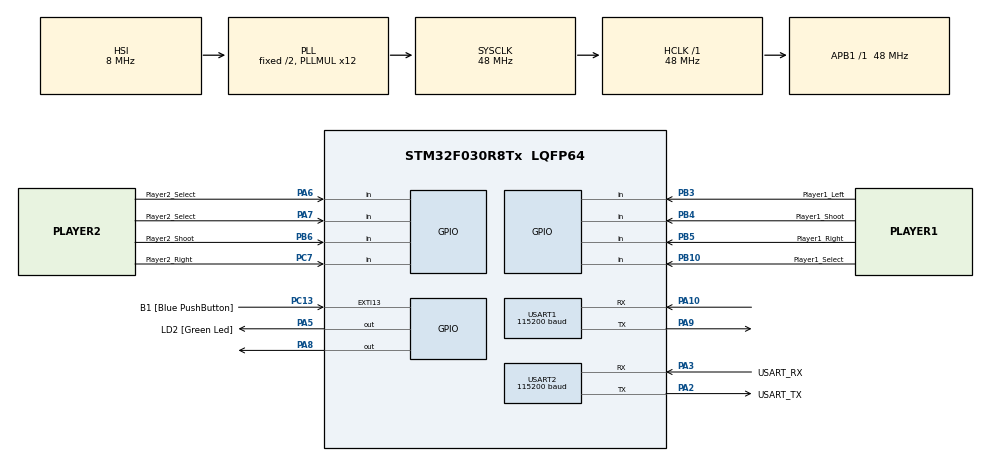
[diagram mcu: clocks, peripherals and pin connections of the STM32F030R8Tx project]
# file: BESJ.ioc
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Mcu.Family=STM32F0
Mcu.Name=STM32F030R8Tx
Mcu.Package=LQFP64
PA10.Mode=Asynchronous
PA10.Signal=USART1_RX
PA13.GPIO_Label=TMS
PA13.Mode=Serial_Wire
PA13.Signal=SYS_SWDIO
PA14.GPIO_Label=TCK
PA14.Mode=Serial_Wire
PA14.Signal=SYS_SWCLK
PA2.GPIO_Label=USART_TX
PA2.GPIO_Mode=GPIO_MODE_AF_PP
PA2.GPIO_PuPd=GPIO_NOPULL
PA2.GPIO_Speed=GPIO_SPEED_FREQ_LOW
PA2.Mode=Asynchronous
PA2.Signal=USART2_TX
PA3.GPIO_Label=USART_RX
PA3.GPIO_Mode=GPIO_MODE_AF_PP
PA3.GPIO_PuPd=GPIO_NOPULL
PA3.GPIO_Speed=GPIO_SPEED_FREQ_LOW
PA3.Mode=Asynchronous
PA3.Signal=USART2_RX
PA5.GPIO_Label=LD2 [Green Led]
PA5.GPIO_Mode=GPIO_MODE_OUTPUT_PP
PA5.GPIO_PuPd=GPIO_NOPULL
PA5.GPIO_Speed=GPIO_SPEED_FREQ_LOW
PA5.Signal=GPIO_Output
PA6.GPIO_Label=Player2_Select
PA6.GPIO_PuPd=GPIO_PULLDOWN
PA6.Signal=GPIO_Input
PA7.GPIO_Label=Player2_Select
PA7.GPIO_PuPd=GPIO_PULLDOWN
PA7.Signal=GPIO_Input
PA8.Signal=GPIO_Output
PA9.Mode=Asynchronous
PA9.Signal=USART1_TX
PB10.GPIO_Label=Player1_Select
PB10.GPIO_PuPd=GPIO_PULLDOWN
PB10.Signal=GPIO_Input
PB3.GPIO_Label=Player1_Left
PB3.GPIO_PuPd=GPIO_PULLDOWN
PB3.Signal=GPIO_Input
PB4.GPIO_Label=Player1_Shoot
PB4.GPIO_PuPd=GPIO_PULLDOWN
PB4.Signal=GPIO_Input
PB5.GPIO_Label=Player1_Right
PB5.GPIO_PuPd=GPIO_PULLDOWN
PB5.Signal=GPIO_Input
PB6.GPIO_Label=Player2_Shoot
PB6.GPIO_PuPd=GPIO_PULLDOWN
PB6.Signal=GPIO_Input
PC13.GPIO_Label=B1 [Blue PushButton]
PC13.GPIO_ModeDefaultEXTI=GPIO_MODE_IT_FALLING
PC13.Signal=GPXTI13
PC14-OSC32_IN.Mode=LSE-External-Oscillator
PC14-OSC32_IN.Signal=RCC_OSC32_IN
PC15-OSC32_OUT.Mode=LSE-External-Oscillator
PC15-OSC32_OUT.Signal=RCC_OSC32_OUT
PC7.GPIO_Label=Player2_Right
PC7.GPIO_PuPd=GPIO_PULLDOWN
PC7.Signal=GPIO_Input
PF0-OSC_IN.Mode=HSE-External-Clock-Source
PF0-OSC_IN.Signal=RCC_OSC_IN
PF1-OSC_OUT.Signal=RCC_OSC_OUT
ProjectManager.HeapSize=0x200
ProjectManager.StackSize=0x400
ProjectManager.TargetToolchain=STM32CubeIDE
RCC.AHBFreq_Value=48000000
RCC.APB1Freq_Value=48000000
RCC.APB1TimFreq_Value=48000000
RCC.HCLKFreq_Value=48000000
RCC.PLLMUL=RCC_PLL_MUL12
RCC.SYSCLKFreq_VALUE=48000000
RCC.SYSCLKSource=RCC_SYSCLKSOURCE_PLLCLK
TIM16.Prescaler=4799
USART1.BaudRate=115200
USART1.Mode=MODE_TX
USART1.OverrunDisableParam=ADVFEATURE_OVERRUN_DISABLE
USART1.VirtualMode-Asynchronous=VM_ASYNC
USART2.BaudRate=115200
USART2.VirtualMode-Asynchronous=VM_ASYNC
VP_TIM16_VS_ClockSourceINT.Mode=Enable_Timer
board=NUCLEO-F030R8

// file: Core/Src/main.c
/* USER CODE BEGIN Header */
/**
  ******************************************************************************
  * @file           : main.c
  * @brief          : Main program body
  ******************************************************************************
  * @attention
  *
  * Copyright (c) 2022 STMicroelectronics.
  * All rights reserved.
  *
  * This software is licensed under terms that can be found in the LICENSE file
  * in the root directory of this software component.
  * If no LICENSE file comes with this software, it is provided AS-IS.
  *
  ******************************************************************************
  */
/* USER CODE END Header */
#include "main.h"

/* USER CODE BEGIN Includes */
#include "stdio.h"
#include "string.h"
/* USER CODE END Includes */

/* USER CODE BEGIN PD */
#define MUSHROOM_X_MIN_BOUND 0
#define MUSHROOM_X_MAX_BOUND 32
#define MUSHROOM_Y_MIN_BOUND 2
#define MUSHROOM_Y_MAX_BOUND 20
#define MUSHROOM_MAX 20
#define BULLETS_MAX 100
#define PLAYER_X_MIN_BOUND 0
#define PLAYER_X_MAX_BOUND 32
#define CENTIPEDE_MAXLENGTH 6
//GROEN IS LINKS, GEEL IS RECHTS (MET STICKER)
//GROEN IS BOVEN, GEEL IS ONDER (ZONDER STICKER

/* USER CODE END PD */

 TIM_HandleTypeDef htim16;

UART_HandleTypeDef huart1;
UART_HandleTypeDef huart2;

/* USER CODE BEGIN PV */

//GRID
uint8_t GRID[32][20];

//PLAYERS
int player1_x_position,		//PLAYER 1
	player1_left_state, 	player1_left_state_prev,
	player1_right_state, 	player1_right_state_prev,
	player1_select_state,	player1_select_state_prev,
	player1_shoot_state, 	player1_shoot_state_prev;
int player2_x_position,		//PLAYER 2
	player2_left_state, 	player2_left_state_prev,
	player2_right_state, 	player2_right_state_prev,
	player2_select_state,	player2_select_state_prev,
	player2_shoot_state, 	player2_shoot_state_prev;

//BULLETS
int player1_bullet_positions[BULLETS_MAX][2];
int player1_bullets_active;
int player2_bullet_positions[BULLETS_MAX][2];
int player2_bullets_active;

//Centipedes
int centipede1_Position[CENTIPEDE_MAXLENGTH][2];
int centipede2_Position[CENTIPEDE_MAXLENGTH][2];

//MUSHROOMS
int mushroomFarm[MUSHROOM_MAX][2];
int mushroom_active;
int mushroomTimer;
//test
char uart_buf[50];
int uart_buf_len;
uint16_t timer_val;
/* USER CODE END PV */

void SystemClock_Config(void);
static void MX_GPIO_Init(void);
static void MX_USART2_UART_Init(void);
static void MX_TIM16_Init(void);
static void MX_USART1_UART_Init(void);
/* USER CODE BEGIN PFP */
//PLAYER1
int Player1_move(void);
int Player1_shoot(void);
int Player1_select(void);
void Player1_position(int);
//PLAYER2
int Player2_move(void);
int Player2_shoot(void);
int Player2_select(void);
void Player2_position(int);
//Centipede1
void Centipede1_INIT(void);
void Centipede1_move(void);
void Centipede1_position(void);
//Centipede2
void Centipede2_INIT(void);
void Centipede2_move(void);
void Centipede2_position(void);
//MUSHROOM
void mushroomFarm_INIT(void);
void mushroomSpawn(void);

/* USER CODE END PFP */

int main(void)
{

  /* MCU Configuration--------------------------------------------------------*/

  /* Reset of all peripherals, Initializes the Flash interface and the Systick. */
  HAL_Init();

  /* Configure the system clock */
  SystemClock_Config();

  /* Initialize all configured peripherals */
  MX_GPIO_Init();
  MX_USART2_UART_Init();
  MX_TIM16_Init();
  MX_USART1_UART_Init();
  /* USER CODE BEGIN 2 */
  //INIT VARIABLES
  player1_x_position = 9;
  player2_x_position = 17;
  mushroomTimer = 0;
  HAL_TIM_Base_Start(&htim16);
  //INIT FUCNTIONS
  //mushroomFarmInit(); <-- geeft errors
  /* USER CODE END 2 */

  /* Infinite loop */
  while (1)
  {

    /* USER CODE BEGIN 3 */
	  char audio[1] = {0x11};
	  char gridC[1] = {0x01};
	  char gridB[5] = {0x00, 0x00, 0x01, 0x00, 0x00};
	  char grid[768] = {0x01, 0x00, 0x00, 0x00, 0x00, 0x00, 0x00, 0x00, 0x00, 0x00, 0x00, 0x00, 0x00, 0x00, 0x00, 0x00, 0x00, 0x00, 0x00, 0x00, 0x00, 0x00, 0x00, 0x00,
			  0x00, 0x00, 0x00, 0x00, 0x00, 0x00, 0x00, 0x00, 0x00, 0x00, 0x00, 0x00, 0x00, 0x00, 0x00, 0x00, 0x00, 0x00, 0x00, 0x00, 0x00, 0x00, 0x00, 0x00,
			  0x00, 0x00, 0x00, 0x00, 0x00, 0x00, 0x00, 0x00, 0x00, 0x00, 0x00, 0x00, 0x00, 0x00, 0x00, 0x00, 0x00, 0x00, 0x00, 0x00, 0x00, 0x00, 0x00, 0x00,
			  0x00, 0x00, 0x00, 0x00, 0x00, 0x00, 0x00, 0x00, 0x00, 0x00, 0x00, 0x00, 0x00, 0x00, 0x00, 0x00, 0x00, 0x00, 0x00, 0x00, 0x00, 0x00, 0x00, 0x00,
			  0x00, 0x00, 0x00, 0x00, 0x00, 0x00, 0x00, 0x00, 0x00, 0x00, 0x00, 0x00, 0x00, 0x00, 0x00, 0x00, 0x00, 0x00, 0x00, 0x00, 0x00, 0x00, 0x00, 0x00,
			  0x00, 0x00, 0x00, 0x07, 0x00, 0x00, 0x00, 0x00, 0x00, 0x00, 0x00, 0x00, 0x00, 0x00, 0x00, 0x00, 0x00, 0x00, 0x00, 0x00, 0x00, 0x00, 0x00, 0x00,
			  0x00, 0x00, 0x00, 0x00, 0x00, 0x00, 0x00, 0x00, 0x00, 0x00, 0x00, 0x00, 0x00, 0x00, 0x00, 0x00, 0x00, 0x00, 0x00, 0x00, 0x00, 0x00, 0x00, 0x00,
			  0x00, 0x00, 0x00, 0x00, 0x00, 0x00, 0x00, 0x00, 0x00, 0x00, 0x00, 0x00, 0x00, 0x00, 0x00, 0x00, 0x00, 0x00, 0x00, 0x00, 0x00, 0x00, 0x00, 0x00,
			  0x00, 0x00, 0x00, 0x00, 0x00, 0x00, 0x00, 0x00, 0x00, 0x00, 0x00, 0x00, 0x00, 0x00, 0x00, 0x00, 0x00, 0x00, 0x00, 0x00, 0x00, 0x00, 0x00, 0x00,
			  0x00, 0x00, 0x00, 0x00, 0x00, 0x00, 0x00, 0x00, 0x00, 0x00, 0x00, 0x00, 0x00, 0x00, 0x00, 0x00, 0x00, 0x00, 0x00, 0x00, 0x00, 0x00, 0x00, 0x00,
			  0x00, 0x00, 0x00, 0x00, 0x00, 0x00, 0x00, 0x00, 0x00, 0x00, 0x00, 0x00, 0x00, 0x00, 0x00, 0x00, 0x00, 0x00, 0x00, 0x00, 0x00, 0x00, 0x00, 0x00,
			  0x00, 0x00, 0x00, 0x00, 0x00, 0x00, 0x00, 0x00, 0x00, 0x00, 0x00, 0x00, 0x00, 0x00, 0x00, 0x00, 0x00, 0x00, 0x00, 0x00, 0x00, 0x00, 0x00, 0x00,
			  0x00, 0x00, 0x00, 0x00, 0x00, 0x00, 0x00, 0x00, 0x00, 0x00, 0x00, 0x00, 0x00, 0x00, 0x00, 0x00, 0x00, 0x00, 0x00, 0x00, 0x00, 0x00, 0x00, 0x00,
			  0x00, 0x00, 0x00, 0x00, 0x00, 0x00, 0x00, 0x00, 0x00, 0x00, 0x00, 0x00, 0x00, 0x00, 0x00, 0x00, 0x00, 0x00, 0x00, 0x00, 0x00, 0x00, 0x00, 0x00,
			  0x00, 0x00, 0x00, 0x00, 0x00, 0x00, 0x00, 0x00, 0x00, 0x00, 0x00, 0x00, 0x00, 0x00, 0x00, 0x00, 0x00, 0x00, 0x00, 0x00, 0x00, 0x00, 0x00, 0x00,
			  0x00, 0x00, 0x00, 0x00, 0x00, 0x00, 0x00, 0x00, 0x00, 0x00, 0x00, 0x00, 0x00, 0x00, 0x00, 0x00, 0x00, 0x00, 0x00, 0x00, 0x00, 0x00, 0x00, 0x00,
			  0x00, 0x00, 0x00, 0x00, 0x00, 0x00, 0x00, 0x00, 0x00, 0x00, 0x00, 0x00, 0x00, 0x00, 0x00, 0x00, 0x00, 0x00, 0x00, 0x00, 0x00, 0x00, 0x00, 0x00,
			  0x00, 0x00, 0x00, 0x00, 0x00, 0x00, 0x00, 0x00, 0x00, 0x00, 0x00, 0x00, 0x00, 0x00, 0x00, 0x00, 0x00, 0x00, 0x00, 0x00, 0x00, 0x00, 0x00, 0x00,
			  0x00, 0x00, 0x00, 0x00, 0x00, 0x00, 0x00, 0x00, 0x00, 0x00, 0x00, 0x00, 0x00, 0x00, 0x00, 0x00, 0x00, 0x00, 0x00, 0x00, 0x00, 0x00, 0x00, 0x00,
			  0x00, 0x00, 0x00, 0x00, 0x00, 0x00, 0x00, 0x00, 0x00, 0x00, 0x00, 0x00, 0x00, 0x00, 0x00, 0x00, 0x00, 0x00, 0x00, 0x00, 0x00, 0x00, 0x00, 0x00,
			  0x00, 0x00, 0x00, 0x00, 0x00, 0x00, 0x00, 0x00, 0x00, 0x00, 0x00, 0x00, 0x00, 0x00, 0x00, 0x00, 0x00, 0x00, 0x00, 0x00, 0x00, 0x00, 0x00, 0x00,
			  0x00, 0x00, 0x00, 0x00, 0x00, 0x00, 0x00, 0x00, 0x00, 0x00, 0x00, 0x00, 0x00, 0x00, 0x00, 0x00, 0x00, 0x00, 0x00, 0x00, 0x00, 0x00, 0x00, 0x00,
			  0x00, 0x00, 0x00, 0x00, 0x00, 0x00, 0x00, 0x00, 0x00, 0x00, 0x00, 0x00, 0x00, 0x00, 0x00, 0x00, 0x03, 0x00, 0x00, 0x00, 0x00, 0x00, 0x00, 0x00,
			  0x00, 0x00, 0x00, 0x00, 0x00, 0x00, 0x00, 0x00, 0x00, 0x00, 0x00, 0x00, 0x00, 0x00, 0x00, 0x00, 0x00, 0x00, 0x00, 0x00, 0x00, 0x00, 0x00, 0x00,
			  0x00, 0x00, 0x00, 0x00, 0x00, 0x00, 0x00, 0x00, 0x00, 0x00, 0x00, 0x00, 0x00, 0x00, 0x00, 0x00, 0x00, 0x00, 0x00, 0x00, 0x00, 0x00, 0x00, 0x00,
			  0x00, 0x00, 0x00, 0x00, 0x00, 0x00, 0x00, 0x00, 0x00, 0x00, 0x00, 0x00, 0x00, 0x00, 0x00, 0x00, 0x00, 0x00, 0x00, 0x00, 0x00, 0x00, 0x00, 0x00,
			  0x00, 0x00, 0x00, 0x00, 0x00, 0x00, 0x00, 0x00, 0x00, 0x00, 0x00, 0x00, 0x00, 0x00, 0x00, 0x00, 0x00, 0x00, 0x00, 0x00, 0x00, 0x00, 0x00, 0x00,
			  0x00, 0x00, 0x00, 0x00, 0x00, 0x00, 0x00, 0x00, 0x00, 0x00, 0x00, 0x00, 0x00, 0x00, 0x00, 0x00, 0x00, 0x00, 0x00, 0x00, 0x00, 0x00, 0x00, 0x00,
			  0x00, 0x00, 0x00, 0x00, 0x00, 0x00, 0x00, 0x00, 0x00, 0x00, 0x00, 0x00, 0x00, 0x00, 0x00, 0x00, 0x00, 0x00, 0x00, 0x00, 0x00, 0x00, 0x00, 0x00,
			  0x00, 0x00, 0x00, 0x00, 0x00, 0x00, 0x00, 0x00, 0x00, 0x00, 0x00, 0x00, 0x00, 0x00, 0x00, 0x00, 0x00, 0x00, 0x00, 0x00, 0x00, 0x00, 0x00, 0x00,
			  0x00, 0x00, 0x00, 0x00, 0x00, 0x00, 0x00, 0x00, 0x00, 0x00, 0x00, 0x00, 0x00, 0x00, 0x00, 0x00, 0x00, 0x00, 0x00, 0x00, 0x00, 0x00, 0x00, 0x00,
			  0x00, 0x00, 0x00, 0x00, 0x00, 0x00, 0x00, 0x00, 0x00, 0x00, 0x00, 0x00, 0x00, 0x00, 0x00, 0x00, 0x00, 0x00, 0x00, 0x00, 0x00, 0x00, 0x00, 0x04};
	  fpgaTransmit(grid, 768); //768 //5 //1
	  HAL_Delay(500);
	  //fpgaTransmit(audio, 1);
	  //HAL_Delay(500);

	if (__HAL_TIM_GET_COUNTER(&htim16) - timer_val >= 1000) //runt elke 1khz
	{
		Player1_position(Player1_move());
		uart_buf_len = sprintf(uart_buf, "%d us\r\n", player1_x_position);
		//HAL_UART_Transmit(&huart2, (uint8_t *)uart_buf, uart_buf_len, 100);
		timer_val = __HAL_TIM_GET_COUNTER(&htim16);
		mushroomTimer++;
	}
	if(mushroomTimer == 10)
	{
		//mushroomSpawn(); <-- geeft errors
	}

  }
  /* USER CODE END 3 */
}

void SystemClock_Config(void)
{
  RCC_OscInitTypeDef RCC_OscInitStruct = {0};
  RCC_ClkInitTypeDef RCC_ClkInitStruct = {0};
  RCC_PeriphCLKInitTypeDef PeriphClkInit = {0};

  /** Initializes the RCC Oscillators according to the specified parameters
  * in the RCC_OscInitTypeDef structure.
  */
  RCC_OscInitStruct.OscillatorType = RCC_OSCILLATORTYPE_HSI;
  RCC_OscInitStruct.HSIState = RCC_HSI_ON;
  RCC_OscInitStruct.HSICalibrationValue = RCC_HSICALIBRATION_DEFAULT;
  RCC_OscInitStruct.PLL.PLLState = RCC_PLL_ON;
  RCC_OscInitStruct.PLL.PLLSource = RCC_PLLSOURCE_HSI;
  RCC_OscInitStruct.PLL.PLLMUL = RCC_PLL_MUL12;
  RCC_OscInitStruct.PLL.PREDIV = RCC_PREDIV_DIV1;
  if (HAL_RCC_OscConfig(&RCC_OscInitStruct) != HAL_OK)
  {
    Error_Handler();
  }

  /** Initializes the CPU, AHB and APB buses clocks
  */
  RCC_ClkInitStruct.ClockType = RCC_CLOCKTYPE_HCLK|RCC_CLOCKTYPE_SYSCLK
                              |RCC_CLOCKTYPE_PCLK1;
  RCC_ClkInitStruct.SYSCLKSource = RCC_SYSCLKSOURCE_PLLCLK;
  RCC_ClkInitStruct.AHBCLKDivider = RCC_SYSCLK_DIV1;
  RCC_ClkInitStruct.APB1CLKDivider = RCC_HCLK_DIV1;

  if (HAL_RCC_ClockConfig(&RCC_ClkInitStruct, FLASH_LATENCY_1) != HAL_OK)
  {
    Error_Handler();
  }
  PeriphClkInit.PeriphClockSelection = RCC_PERIPHCLK_USART1;
  PeriphClkInit.Usart1ClockSelection = RCC_USART1CLKSOURCE_PCLK1;
  if (HAL_RCCEx_PeriphCLKConfig(&PeriphClkInit) != HAL_OK)
  {
    Error_Handler();
  }
}

static void MX_TIM16_Init(void)
{

  htim16.Instance = TIM16;
  htim16.Init.Prescaler = 4799;
  htim16.Init.CounterMode = TIM_COUNTERMODE_UP;
  htim16.Init.Period = 65535;
  htim16.Init.ClockDivision = TIM_CLOCKDIVISION_DIV1;
  htim16.Init.RepetitionCounter = 0;
  htim16.Init.AutoReloadPreload = TIM_AUTORELOAD_PRELOAD_DISABLE;
  if (HAL_TIM_Base_Init(&htim16) != HAL_OK)
  {
    Error_Handler();
  }

}

static void MX_USART1_UART_Init(void)
{

  huart1.Instance = USART1;
  huart1.Init.BaudRate = 115200;
  huart1.Init.WordLength = UART_WORDLENGTH_8B;
  huart1.Init.StopBits = UART_STOPBITS_1;
  huart1.Init.Parity = UART_PARITY_NONE;
  huart1.Init.Mode = UART_MODE_TX;
  huart1.Init.HwFlowCtl = UART_HWCONTROL_NONE;
  huart1.Init.OverSampling = UART_OVERSAMPLING_16;
  huart1.Init.OneBitSampling = UART_ONE_BIT_SAMPLE_DISABLE;
  huart1.AdvancedInit.AdvFeatureInit = UART_ADVFEATURE_RXOVERRUNDISABLE_INIT;
  huart1.AdvancedInit.OverrunDisable = UART_ADVFEATURE_OVERRUN_DISABLE;
  if (HAL_UART_Init(&huart1) != HAL_OK)
  {
    Error_Handler();
  }

}

static void MX_USART2_UART_Init(void)
{

  huart2.Instance = USART2;
  huart2.Init.BaudRate = 115200;
  huart2.Init.WordLength = UART_WORDLENGTH_8B;
  huart2.Init.StopBits = UART_STOPBITS_1;
  huart2.Init.Parity = UART_PARITY_NONE;
  huart2.Init.Mode = UART_MODE_TX_RX;
  huart2.Init.HwFlowCtl = UART_HWCONTROL_NONE;
  huart2.Init.OverSampling = UART_OVERSAMPLING_16;
  huart2.Init.OneBitSampling = UART_ONE_BIT_SAMPLE_DISABLE;
  huart2.AdvancedInit.AdvFeatureInit = UART_ADVFEATURE_NO_INIT;
  if (HAL_UART_Init(&huart2) != HAL_OK)
  {
    Error_Handler();
  }

}

static void MX_GPIO_Init(void)
{
  GPIO_InitTypeDef GPIO_InitStruct = {0};

  /* GPIO Ports Clock Enable */
  __HAL_RCC_GPIOC_CLK_ENABLE();
  __HAL_RCC_GPIOF_CLK_ENABLE();
  __HAL_RCC_GPIOA_CLK_ENABLE();
  __HAL_RCC_GPIOB_CLK_ENABLE();

  /*Configure GPIO pin Output Level */
  HAL_GPIO_WritePin(GPIOA, LD2_Pin|GPIO_PIN_8, GPIO_PIN_RESET);

  /*Configure GPIO pin : B1_Pin */
  GPIO_InitStruct.Pin = B1_Pin;
  GPIO_InitStruct.Mode = GPIO_MODE_IT_FALLING;
  GPIO_InitStruct.Pull = GPIO_NOPULL;
  HAL_GPIO_Init(B1_GPIO_Port, &GPIO_InitStruct);

  /*Configure GPIO pins : LD2_Pin PA8 */
  GPIO_InitStruct.Pin = LD2_Pin|GPIO_PIN_8;
  GPIO_InitStruct.Mode = GPIO_MODE_OUTPUT_PP;
  GPIO_InitStruct.Pull = GPIO_NOPULL;
  GPIO_InitStruct.Speed = GPIO_SPEED_FREQ_LOW;
  HAL_GPIO_Init(GPIOA, &GPIO_InitStruct);

  /*Configure GPIO pins : Player2_Select_Pin Player2_SelectA7_Pin */
  GPIO_InitStruct.Pin = Player2_Select_Pin|Player2_SelectA7_Pin;
  GPIO_InitStruct.Mode = GPIO_MODE_INPUT;
  GPIO_InitStruct.Pull = GPIO_PULLDOWN;
  HAL_GPIO_Init(GPIOA, &GPIO_InitStruct);

  /*Configure GPIO pins : Player1_Select_Pin Player1_Left_Pin Player1_Shoot_Pin Player1_Right_Pin
                           Player2_Shoot_Pin */
  GPIO_InitStruct.Pin = Player1_Select_Pin|Player1_Left_Pin|Player1_Shoot_Pin|Player1_Right_Pin
                          |Player2_Shoot_Pin;
  GPIO_InitStruct.Mode = GPIO_MODE_INPUT;
  GPIO_InitStruct.Pull = GPIO_PULLDOWN;
  HAL_GPIO_Init(GPIOB, &GPIO_InitStruct);

  /*Configure GPIO pin : Player2_Right_Pin */
  GPIO_InitStruct.Pin = Player2_Right_Pin;
  GPIO_InitStruct.Mode = GPIO_MODE_INPUT;
  GPIO_InitStruct.Pull = GPIO_PULLDOWN;
  HAL_GPIO_Init(Player2_Right_GPIO_Port, &GPIO_InitStruct);

}

/* USER CODE BEGIN 4 */

//player1 position changes position of sprite READY
void Player1_position(int movement)
{
	int next_position = player1_x_position + movement;
	if(PLAYER_X_MIN_BOUND <= next_position && next_position <= PLAYER_X_MAX_BOUND)
	{
		player1_x_position = next_position;
	}
}
//Player 1 move returns either 0 for no movement, -1 for left and 1 for right; READY
int Player1_move(void)
{
	player1_left_state = HAL_GPIO_ReadPin(GPIOB, GPIO_PIN_3);
	if(player1_left_state != player1_left_state_prev && player1_left_state)
	{
		player1_left_state_prev = player1_left_state;
		return -1;
	}
	player1_left_state_prev = 0;
	player1_right_state = HAL_GPIO_ReadPin(GPIOB, GPIO_PIN_5);
	if(player1_right_state != player1_right_state_prev && player1_right_state)
	{
		player1_right_state_prev = player1_right_state;
		return 1;
	}
	player1_right_state_prev = 0;
	return 0;
}
//Player 1 shoot returns either 0 or 1; READY
int Player1_shoot(void)
{
	player1_shoot_state = HAL_GPIO_ReadPin(GPIOB, GPIO_PIN_4);
	if(player1_shoot_state != player1_shoot_state_prev && player1_shoot_state)
	{
		player1_shoot_state_prev = player1_shoot_state;
		return 1;
	}
	else if(player1_shoot_state == 0)
	{
		player1_shoot_state_prev = 0;
	}
	return 0;
}
//Player 1 select returns either 0 or 1; READY
int Player1_select(void)
{
	player1_select_state = HAL_GPIO_ReadPin(GPIOB, GPIO_PIN_10);
	if(player1_select_state != player1_select_state_prev && player1_select_state)
	{
		player1_select_state_prev = player1_select_state;
		return 1;
	}
	else if (player1_select_state == 0)
	{
		player1_select_state_prev = 0;
	}
	return 0;
}

//Player 2 move returns either 0 for no movement, -1 for left and 1 for right; TODO
int Player2_move(void)
{
	if(HAL_GPIO_ReadPin(GPIOA, GPIO_PIN_9))
	{
		return -1;
	}
	else if(HAL_GPIO_ReadPin(GPIOC, GPIO_PIN_7))
	{
		return 1;
	}
	else
	{
		return 0;
	}
}
//Player 2 shoot returns either 0 or 1; TODO
int Player2_shoot(void)
{
	if(HAL_GPIO_ReadPin(GPIOB, GPIO_PIN_6))
	{
		return 1;
	}
	else
	{
		return 0;
	}
}
//Player 2 select returns either 0 or 1; TODO
int Player2_select(void)
{
	if(HAL_GPIO_ReadPin(GPIOA, GPIO_PIN_7))
	{
		return 1;
	}
	else
	{
		return 0;
	}
}

////DATA COM
int fpgaTransmit(char* data, int dataArraySize){
	char start[1] = {0x53};
	char stop[1] = {0x54};
    HAL_GPIO_WritePin(GPIOA, GPIO_PIN_8, GPIO_PIN_SET);
	HAL_Delay(10);
	for(int i = 0; i <= dataArraySize ; i++){
		HAL_UART_Transmit(&huart1, (uint8_t*)&data[i], sizeof(&data[i]), 100);
		HAL_UART_Transmit(&huart2, (uint8_t*)&data[i], sizeof(&data[i]), 100);
	HAL_Delay(10);
	}
	HAL_Delay(10);
	HAL_GPIO_WritePin(GPIOA, GPIO_PIN_8, GPIO_PIN_RESET);
	return 1;
}
////
/* USER CODE END 4 */

void Error_Handler(void)
{
  __disable_irq();
  while (1)
  {
  }
}
